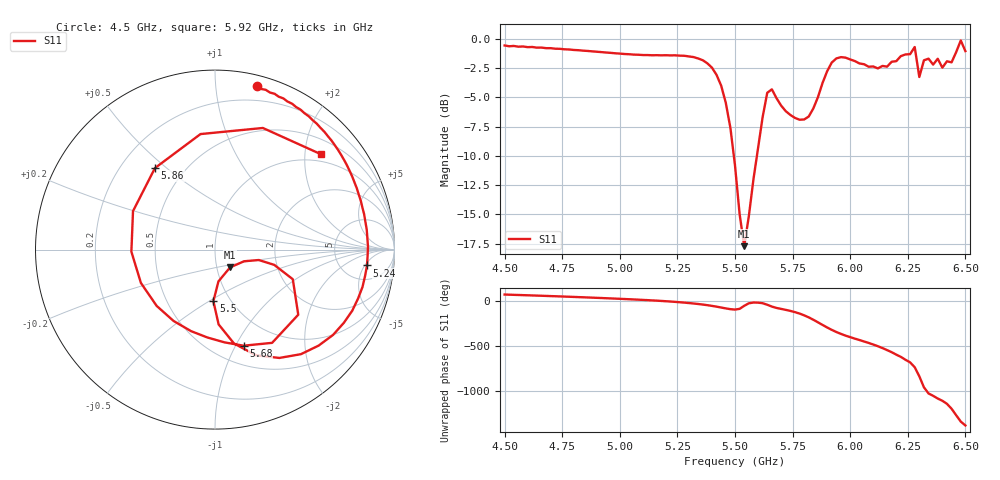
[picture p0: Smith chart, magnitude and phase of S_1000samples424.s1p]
! TOUCHSTONE file generated by CST MICROWAVE STUDIO
! Date and time: Fri Oct 28 03:19:50 2022
! Project name: L.cst
! Parameters = {Di=1.27; Epsilon_r=1.56; InnerDiameter=1.27; Length=2; Lf=10; Lg=60; OuterConductorThickness=0.2921; OuterDiameter=3.6; Wf=3; Wp=41.2; de=1.5; df=6.8; g=0.8; gx=2.05147; gy=2.32547; h=2.34; hf=1.524; px=8.11485; py=14.9574; w=9.7; wx=6.06338; wy=12.6319}
! Header version: 2018
! Port assignment regex: !\s*Touchstone port\s*([0-9]+)\s*=\s*(CST MWS port|CST DS port)\s*([0-9]+|Zmin|Zmax)\s*\(\"(.*)\"\)(\s*mode\s*([0-9]+))?.*
! Touchstone port assignment:
! Touchstone port 1 = CST MWS port 1 ("")
# GHz S DB R 50
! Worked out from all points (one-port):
!   101 points, 4.5 GHz to 6.5 GHz, reference 50 ohm
!   lowest |S11| = -17.7 dB at 5.54 GHz (marker M1), VSWR 1.30, Z = 57.9 - j11.7 ohm
!   |S11| at or under -10 dB: 5.495 GHz to 5.595 GHz (100.1 MHz wide, 1.81 % of centre)
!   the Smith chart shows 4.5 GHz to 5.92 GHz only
!   S11 on the Smith chart (normalised r, x): 4.5 GHz: 0.08, +1.28; 5.24 GHz: 9, -6; 5.5 GHz: 0.83, -0.52; 5.68 GHz: 0.69, -1.08; 5.86 GHz: 0.34, +0.46; 5.92 GHz: 0.82, +2.35
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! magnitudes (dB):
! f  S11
! 4.5 GHz  -0.6
! 4.76 GHz  -0.9
! 5 GHz  -1.2
! 5.24 GHz  -1.4
! 5.26 GHz  -1.4
! 5.36 GHz  -1.8
! 5.42 GHz  -3.1
! 5.46 GHz  -5.5
! 5.5 GHz  -10.8
! 5.52 GHz  -15.0
! 5.54 GHz  -17.7
! 5.64 GHz  -4.6
! 5.68 GHz  -5.1
! 5.76 GHz  -6.7
! 5.82 GHz  -6.6
! 5.86 GHz  -5.0
! 5.92 GHz  -2.0
! 6 GHz  -1.7
! 6.12 GHz  -2.5
! 6.26 GHz  -1.3
! 6.28 GHz  -0.7
! 6.3 GHz  -3.2
! 6.32 GHz  -1.8
! 6.38 GHz  -1.7
! 6.4 GHz  -2.4
! 6.44 GHz  -2.0
! 6.48 GHz  -0.1
! 6.5 GHz  -1.0
